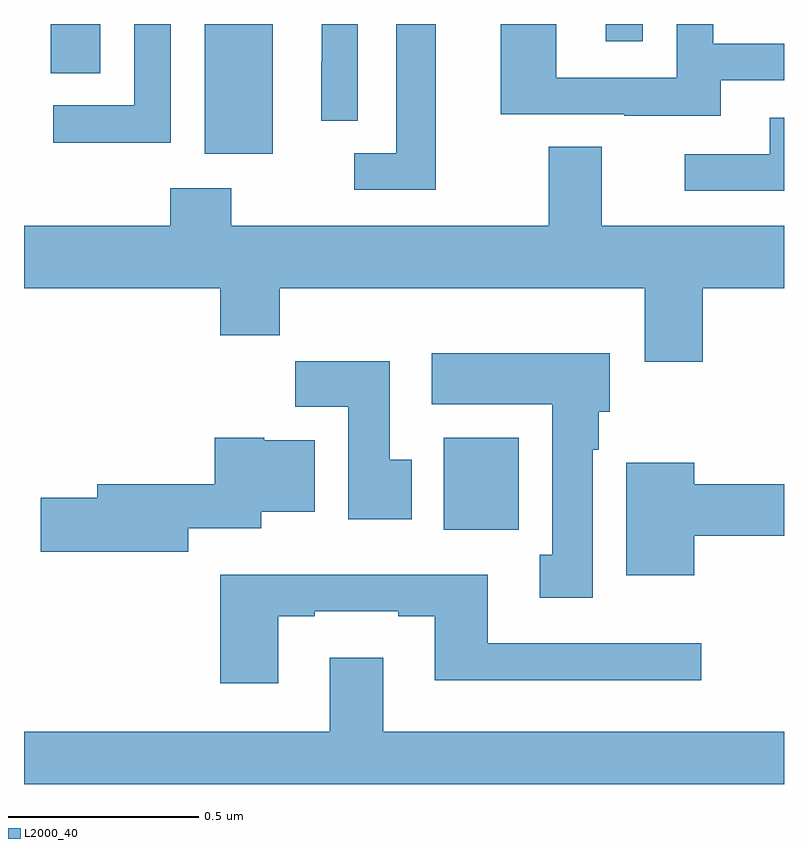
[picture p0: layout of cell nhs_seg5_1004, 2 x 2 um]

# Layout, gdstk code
import gdstk
lib = gdstk.Library(unit=1e-6, precision=1e-09)
def R(c, l, rs):  # rectangles x0, y0, x1, y1
    for r in rs: c.add(gdstk.rectangle(r[:2], r[2:], *l))
def P(c, l, *ps):  # polygons
    for p in ps: c.add(gdstk.Polygon(p, *l))
L2000_40 = (2000, 40)

nhs_seg5_1004 = lib.new_cell('nhs_seg5_1004')
R(nhs_seg5_1004, L2000_40, [(125.105,845.468,125.302,845.71), (124.475,846.458,124.654,846.799), (124.07,846.67,124.201,846.799), (125.531,846.753,125.628,846.799)])
P(nhs_seg5_1004, L2000_40, [(125.083,846.799),(124.979,846.799),(124.979,846.459),(124.869,846.459),(124.869,846.363),(125.083,846.363)],
  [(125.833,846.651),(126,846.651),(126,846.747),(125.814,846.747),(125.814,846.799),(125.718,846.799),(125.718,846.657),(125.4,846.657),(125.4,846.799),(125.255,846.799),(125.255,846.561),(125.579,846.561),(125.579,846.557),(125.833,846.557)],
  [(124.386,846.799),(124.29,846.799),(124.29,846.585),(124.077,846.585),(124.077,846.487),(124.386,846.487)],
  [(124.878,846.799),(124.784,846.799),(124.784,846.698),(124.782,846.698),(124.782,846.544),(124.878,846.544)],
  [(126,846.552),(125.963,846.552),(125.963,846.456),(125.739,846.456),(125.739,846.36),(126,846.36)],
  [(125.786,846.104),(126,846.104),(126,846.268),(125.521,846.268),(125.521,846.476),(125.381,846.476),(125.381,846.268),(124.545,846.268),(124.545,846.367),(124.385,846.367),(124.385,846.268),(124,846.268),(124,846.104),(124.517,846.104),(124.517,845.98),(124.673,845.98),(124.673,846.104),(125.633,846.104),(125.633,845.91),(125.786,845.91)],
  [(125.497,845.678),(125.512,845.678),(125.512,845.778),(125.542,845.778),(125.542,845.932),(125.073,845.932),(125.073,845.798),(125.39,845.798),(125.39,845.402),(125.357,845.402),(125.357,845.289),(125.497,845.289)],
  [(125.02,845.652),(124.963,845.652),(124.963,845.911),(124.714,845.911),(124.714,845.792),(124.853,845.792),(124.853,845.496),(125.02,845.496)],
  [(124.432,845.472),(124.624,845.472),(124.624,845.516),(124.765,845.516),(124.765,845.704),(124.632,845.704),(124.632,845.71),(124.502,845.71),(124.502,845.588),(124.193,845.588),(124.193,845.552),(124.044,845.552),(124.044,845.41),(124.432,845.41)],
  [(125.764,845.452),(126,845.452),(126,845.588),(125.764,845.588),(125.764,845.644),(125.585,845.644),(125.585,845.348),(125.764,845.348)],
  [(124.669,845.241),(124.765,845.241),(124.765,845.253),(124.985,845.253),(124.985,845.241),(125.081,845.241),(125.081,845.072),(125.782,845.072),(125.782,845.169),(125.221,845.169),(125.221,845.35),(124.517,845.35),(124.517,845.064),(124.669,845.064)],
  [(126,844.936),(124.945,844.936),(124.945,845.131),(124.805,845.131),(124.805,844.936),(124,844.936),(124,844.799),(126,844.799)])

lib.write_gds('nhs_seg5_1004.gds')
